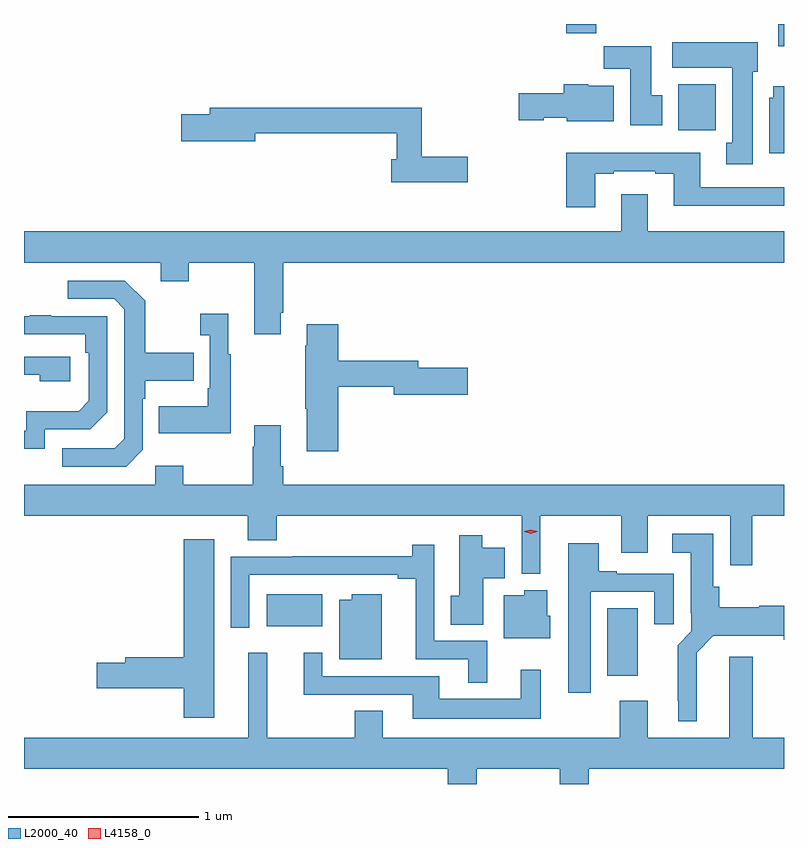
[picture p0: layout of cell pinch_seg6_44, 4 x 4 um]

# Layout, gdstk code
import gdstk
lib = gdstk.Library(unit=1e-6, precision=1e-09)
def R(c, l, rs):  # rectangles x0, y0, x1, y1
    for r in rs: c.add(gdstk.rectangle(r[:2], r[2:], *l))
def P(c, l, *ps):  # polygons
    for p in ps: c.add(gdstk.Polygon(p, *l))
L2000_40 = (2000, 40)
L4158_0 = (4158, 0)

pinch_seg6_44 = lib.new_cell('pinch_seg6_44')
R(pinch_seg6_44, L2000_40, [(906.839,989.118,906.997,989.474), (905.045,989.378,905.338,989.548), (907.211,991.988,907.408,992.23), (907.739,992.43,907.768,992.548), (906.623,992.5,906.779,992.548)])
P(pinch_seg6_44, L2000_40, [(907.603,992.298),(907.63,992.298),(907.63,992.452),(907.179,992.452),(907.179,992.318),(907.496,992.318),(907.496,991.922),(907.463,991.922),(907.463,991.809),(907.603,991.809)],
  [(907.126,992.172),(907.069,992.172),(907.069,992.431),(906.82,992.431),(906.82,992.312),(906.959,992.312),(906.959,992.016),(907.126,992.016)],
  [(906.871,992.224),(906.738,992.224),(906.738,992.23),(906.608,992.23),(906.608,992.184),(906.372,992.184),(906.372,992.042),(906.504,992.042),(906.504,992.054),(906.624,992.054),(906.624,992.036),(906.871,992.036)],
  [(907.768,992.221),(907.712,992.221),(907.712,992.16),(907.691,992.16),(907.691,991.868),(907.768,991.868)],
  [(906.103,991.85),(905.861,991.85),(905.861,992.108),(904.745,992.108),(904.745,992.072),(904.596,992.072),(904.596,991.93),(904.984,991.93),(904.984,991.972),(905.729,991.972),(905.729,991.837),(905.702,991.837),(905.702,991.715),(906.103,991.715)],
  [(906.775,991.761),(906.871,991.761),(906.871,991.773),(907.091,991.773),(907.091,991.761),(907.187,991.761),(907.187,991.592),(907.768,991.592),(907.768,991.689),(907.327,991.689),(907.327,991.87),(906.623,991.87),(906.623,991.584),(906.775,991.584)],
  [(905.119,991.027),(905.132,991.027),(905.132,991.292),(907.768,991.292),(907.768,991.456),(907.051,991.456),(907.051,991.651),(906.911,991.651),(906.911,991.456),(903.768,991.456),(903.768,991.292),(904.487,991.292),(904.487,991.193),(904.635,991.193),(904.635,991.292),(904.979,991.292),(904.979,990.915),(905.119,990.915)],
  [(904.392,990.306),(904.392,990.575),(904.405,990.575),(904.405,990.671),(904.661,990.671),(904.661,990.819),(904.405,990.819),(904.405,991.091),(904.299,991.197),(903.999,991.197),(903.999,991.101),(904.242,991.101),(904.296,991.047),(904.296,990.366),(904.245,990.315),(903.969,990.315),(903.969,990.219),(904.305,990.219)],
  [(904.855,990.811),(904.843,990.811),(904.843,991.024),(904.695,991.024),(904.695,990.911),(904.746,990.911),(904.746,990.631),(904.734,990.631),(904.734,990.535),(904.477,990.535),(904.477,990.395),(904.855,990.395)],
  [(903.876,990.414),(904.116,990.414),(904.206,990.504),(904.206,991.011),(903.911,991.011),(903.911,991.016),(903.799,991.016),(903.799,991.011),(903.768,991.011),(903.768,990.915),(904.09,990.915),(904.09,990.818),(904.11,990.818),(904.11,990.564),(904.057,990.511),(903.78,990.511),(903.78,990.408),(903.768,990.408),(903.768,990.312),(903.876,990.312)],
  [(905.423,990.64),(905.714,990.64),(905.714,990.598),(906.103,990.598),(906.103,990.74),(905.842,990.74),(905.842,990.776),(905.423,990.776),(905.423,990.967),(905.255,990.967),(905.255,990.854),(905.248,990.854),(905.248,990.523),(905.255,990.523),(905.255,990.3),(905.423,990.3)],
  [(904.012,990.798),(903.768,990.798),(903.768,990.702),(903.851,990.702),(903.851,990.668),(904.012,990.668)],
  [(906.484,989.96),(906.911,989.96),(906.911,989.766),(907.051,989.766),(907.051,989.96),(907.485,989.96),(907.485,989.7),(907.601,989.7),(907.601,989.96),(907.768,989.96),(907.768,990.124),(905.132,990.124),(905.132,990.22),(905.119,990.22),(905.119,990.436),(904.979,990.436),(904.979,990.323),(904.972,990.323),(904.972,990.124),(904.605,990.124),(904.605,990.223),(904.458,990.223),(904.458,990.124),(903.768,990.124),(903.768,989.96),(904.946,989.96),(904.946,989.83),(905.099,989.83),(905.099,989.96),(906.387,989.96),(906.387,989.654),(906.484,989.654)],
  [(907.309,989.24),(907.395,989.327),(907.766,989.327),(907.766,989.308),(907.768,989.308),(907.768,989.487),(907.638,989.487),(907.638,989.479),(907.427,989.479),(907.427,989.586),(907.396,989.586),(907.396,989.866),(907.179,989.866),(907.179,989.765),(907.277,989.765),(907.277,989.446),(907.281,989.446),(907.281,989.352),(907.208,989.279),(907.208,988.987),(907.211,988.987),(907.211,988.877),(907.309,988.877)],
  [(906.184,989.63),(906.298,989.63),(906.298,989.791),(906.181,989.791),(906.181,989.857),(906.059,989.857),(906.059,989.538),(906.013,989.538),(906.013,989.386),(906.184,989.386)],
  [(904.768,989.836),(904.61,989.836),(904.61,989.216),(904.301,989.216),(904.301,989.186),(904.152,989.186),(904.152,989.051),(904.61,989.051),(904.61,988.896),(904.768,988.896)],
  [(906.751,989.559),(907.085,989.559),(907.085,989.388),(907.189,989.388),(907.189,989.655),(906.889,989.655),(906.889,989.668),(906.793,989.668),(906.793,989.815),(906.632,989.815),(906.632,989.028),(906.751,989.028)],
  [(906.205,989.301),(905.928,989.301),(905.928,989.806),(905.812,989.806),(905.812,989.747),(905.182,989.747),(905.182,989.745),(904.857,989.745),(904.857,989.37),(904.953,989.37),(904.953,989.649),(905.735,989.649),(905.735,989.629),(905.831,989.629),(905.831,989.205),(906.107,989.205),(906.107,989.081),(906.205,989.081)],
  [(906.538,989.433),(906.523,989.433),(906.523,989.569),(906.402,989.569),(906.402,989.542),(906.293,989.542),(906.293,989.315),(906.538,989.315)],
  [(905.65,989.548),(905.492,989.548),(905.492,989.518),(905.426,989.518),(905.426,989.204),(905.65,989.204)],
  [(906.487,989.149),(906.383,989.149),(906.383,988.996),(905.953,988.996),(905.953,989.115),(905.337,989.115),(905.337,989.239),(905.24,989.239),(905.24,989.019),(905.813,989.019),(905.813,988.892),(906.487,988.892)],
  [(906.151,988.628),(906.587,988.628),(906.587,988.548),(906.74,988.548),(906.74,988.628),(907.768,988.628),(907.768,988.792),(907.604,988.792),(907.604,989.218),(907.481,989.218),(907.481,988.792),(907.051,988.792),(907.051,988.987),(906.904,988.987),(906.904,988.792),(905.656,988.792),(905.656,988.934),(905.509,988.934),(905.509,988.792),(905.048,988.792),(905.048,989.239),(904.949,989.239),(904.949,988.792),(903.768,988.792),(903.768,988.628),(905.999,988.628),(905.999,988.548),(906.151,988.548)])
P(pinch_seg6_44, L4158_0, [(906.435,989.866),(906.4,989.876),(906.4,989.876),(906.4,989.877),(906.435,989.886),(906.47,989.877),(906.47,989.876),(906.47,989.876)])

lib.write_gds('pinch_seg6_44.gds')
